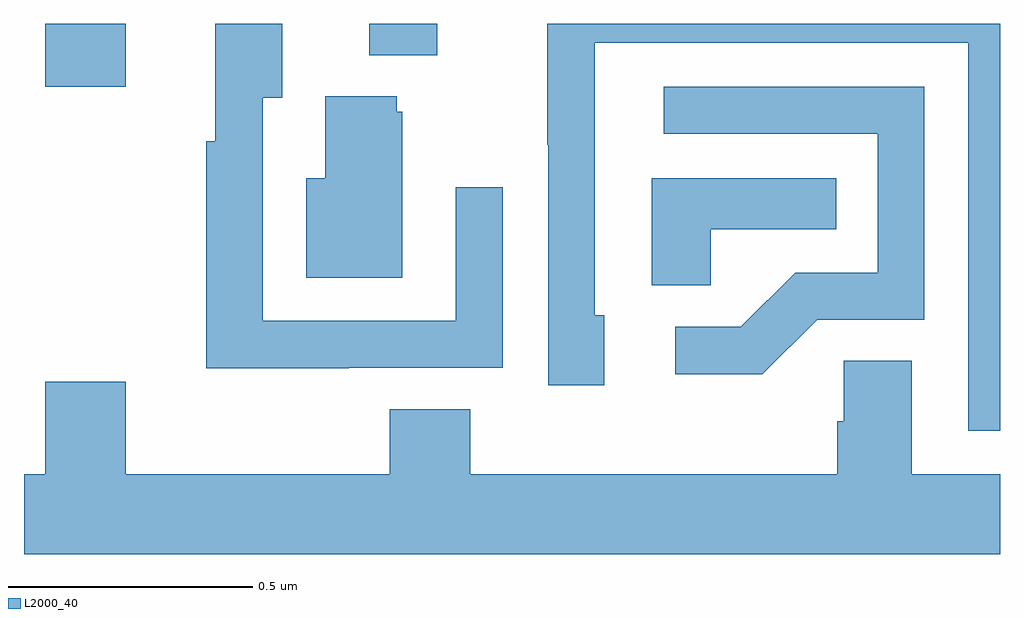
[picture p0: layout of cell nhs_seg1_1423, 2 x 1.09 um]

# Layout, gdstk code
import gdstk
lib = gdstk.Library(unit=1e-6, precision=1e-09)
def R(c, l, rs):  # rectangles x0, y0, x1, y1
    for r in rs: c.add(gdstk.rectangle(r[:2], r[2:], *l))
def P(c, l, *ps):  # polygons
    for p in ps: c.add(gdstk.Polygon(p, *l))
L2000_40 = (2000, 40)

nhs_seg1_1423 = lib.new_cell('nhs_seg1_1423')
R(nhs_seg1_1423, L2000_40, [(129.044,506.07,129.208,506.199), (129.707,506.135,129.847,506.199)])
P(nhs_seg1_1423, L2000_40, [(131,506.199),(130.072,506.199),(130.072,505.951),(130.074,505.951),(130.074,505.458),(130.189,505.458),(130.189,505.602),(130.17,505.602),(130.17,506.16),(130.935,506.16),(130.935,505.365),(131,505.365)],
  [(129.665,505.494),(129.981,505.494),(129.981,505.864),(129.885,505.864),(129.885,505.59),(129.489,505.59),(129.489,506.047),(129.529,506.047),(129.529,506.199),(129.392,506.199),(129.392,505.958),(129.373,505.958),(129.373,505.493),(129.665,505.493)],
  [(130.626,505.593),(130.845,505.593),(130.845,506.07),(130.311,506.07),(130.311,505.974),(130.749,505.974),(130.749,505.689),(130.58,505.689),(130.469,505.578),(130.335,505.578),(130.335,505.481),(130.513,505.481)],
  [(129.775,506.019),(129.764,506.019),(129.764,506.05),(129.617,506.05),(129.617,505.882),(129.578,505.882),(129.578,505.679),(129.775,505.679)],
  [(130.407,505.778),(130.664,505.778),(130.664,505.882),(130.286,505.882),(130.286,505.663),(130.407,505.663)],
  [(131,505.276),(130.819,505.276),(130.819,505.508),(130.68,505.508),(130.68,505.385),(130.667,505.385),(130.667,505.276),(129.914,505.276),(129.914,505.409),(129.749,505.409),(129.749,505.276),(129.208,505.276),(129.208,505.465),(129.044,505.465),(129.044,505.276),(129,505.276),(129,505.112),(131,505.112)])

lib.write_gds('nhs_seg1_1423.gds')
